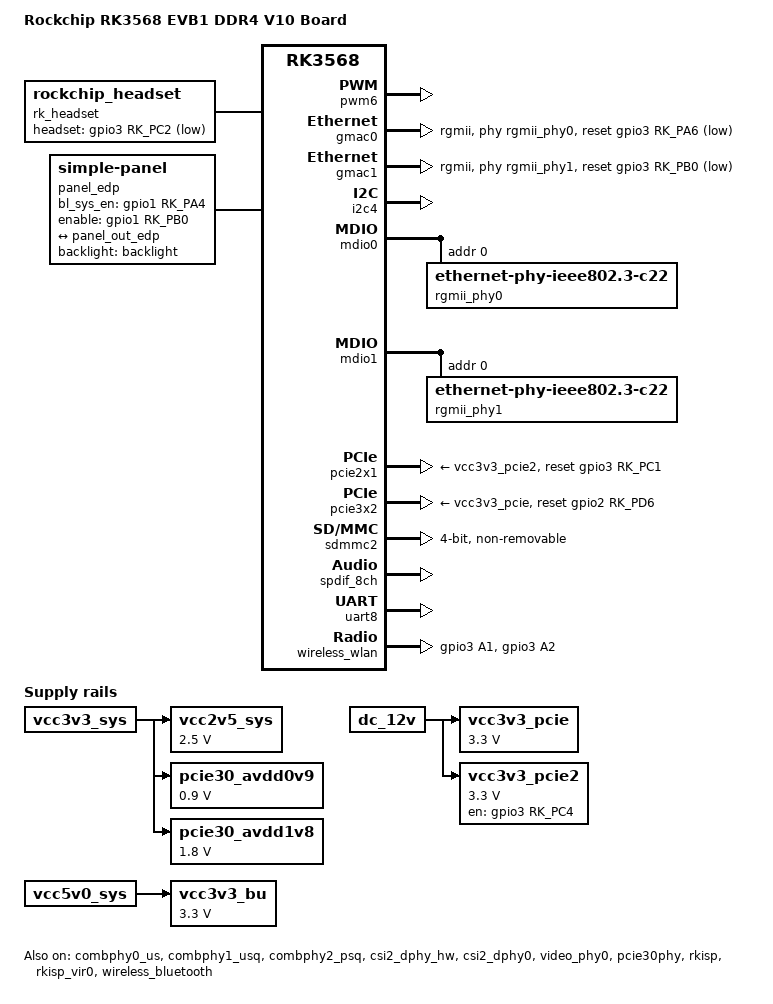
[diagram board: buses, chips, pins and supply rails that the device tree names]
// SPDX-License-Identifier: (GPL-2.0+ OR MIT)
/*
 * Copyright (c) 2020 Rockchip Electronics Co., Ltd.
 *
 */

/dts-v1/;

#include <dt-bindings/gpio/gpio.h>
#include <dt-bindings/pinctrl/rockchip.h>
#include "rk3568.dtsi"
#include "rk3568-tinker_board_3-common.dtsi"

/ {
	model = "Rockchip RK3568 EVB1 DDR4 V10 Board";
	compatible = "rockchip,rk3568-evb1-ddr4-v10", "rockchip,rk3568";

	rk_headset: rk-headset {
		compatible = "rockchip_headset";
		headset_gpio = <&gpio3 RK_PC2 GPIO_ACTIVE_LOW>;
		pinctrl-names = "default";
		pinctrl-0 = <&hp_det>;
	};

	vcc2v5_sys: vcc2v5-ddr {
		compatible = "regulator-fixed";
		regulator-name = "vcc2v5-sys";
		regulator-always-on;
		regulator-boot-on;
		regulator-min-microvolt = <2500000>;
		regulator-max-microvolt = <2500000>;
		vin-supply = <&vcc3v3_sys>;
	};

	pcie30_avdd0v9: pcie30-avdd0v9 {
		compatible = "regulator-fixed";
		regulator-name = "pcie30_avdd0v9";
		regulator-always-on;
		regulator-boot-on;
		regulator-min-microvolt = <900000>;
		regulator-max-microvolt = <900000>;
		vin-supply = <&vcc3v3_sys>;
	};

	pcie30_avdd1v8: pcie30-avdd1v8 {
		compatible = "regulator-fixed";
		regulator-name = "pcie30_avdd1v8";
		regulator-always-on;
		regulator-boot-on;
		regulator-min-microvolt = <1800000>;
		regulator-max-microvolt = <1800000>;
		vin-supply = <&vcc3v3_sys>;
	};

	vcc3v3_pcie: gpio-regulator {
		compatible = "regulator-fixed";
		regulator-name = "vcc3v3_pcie";
		regulator-min-microvolt = <3300000>;
		regulator-max-microvolt = <3300000>;
		enable-active-high;
		//gpio = <&gpio0 RK_PD4 GPIO_ACTIVE_HIGH>;
		startup-delay-us = <5000>;
		vin-supply = <&dc_12v>;
	};

	vcc3v3_pcie2: pcie2-gpio-regulator {
		compatible = "regulator-fixed";
		regulator-name = "vcc3v3_pcie2";
		regulator-min-microvolt = <3300000>;
		regulator-max-microvolt = <3300000>;
		enable-active-high;
		gpio = <&gpio3 RK_PC4 GPIO_ACTIVE_HIGH>;
		startup-delay-us = <5000>;
		vin-supply = <&dc_12v>;
	};

	vcc3v3_bu: vcc3v3-bu {
		compatible = "regulator-fixed";
		regulator-name = "vcc3v3_bu";
		regulator-always-on;
		regulator-boot-on;
		regulator-min-microvolt = <3300000>;
		regulator-max-microvolt = <3300000>;
		vin-supply = <&vcc5v0_sys>;
	};

	panel_edp: panel-edp {
		compatible = "simple-panel";
		width-mm = <344>;
		height-mm = <193>;
		bus-format = <0x100a>;//<MEDIA_BUS_FMT_RGB888_1X24>;
		bpc = <8>;
		backlight = <&backlight>;
		pinctrl-names = "default";
		pinctrl-0 =  <&pinctrl_vdd_en &pinctrl_bl_sys_en>;
		bl_sys_en-gpios = <&gpio1 RK_PA4 GPIO_ACTIVE_HIGH>;
		enable-gpios = <&gpio1 RK_PB0 GPIO_ACTIVE_HIGH>;
		disable-delay-ms = <500>; //power off time t12 500ms

		display-timings {
				native-mode = <&timing0>;

				timing0: timing0 {
					clock-frequency = <142000000>;
				    hactive = <1920>;
					vactive = <1080>;
				    hfront-porch = <108>;
				    hsync-len = <48>;
				    hback-porch = <24>;
				    vfront-porch = <10>;
				    vsync-len = <10>;
				    vback-porch = <26>;
					hsync-active = <0>;
				    vsync-active = <0>;
				    de-active = <1>;
				    pixelclk-active = <0>;
				};
		};

		port {
			panel_in_edp: endpoint {
				remote-endpoint = <&panel_out_edp>;
			};
		};
	};
};

&combphy0_us {
	status = "okay";
};

&combphy1_usq {
	status = "okay";
};

&combphy2_psq {
	status = "okay";
};

&csi2_dphy_hw {
	status = "okay";
};

&csi2_dphy0 {
	status = "okay";

	ports {
		#address-cells = <1>;
		#size-cells = <0>;
		port@0 {
			reg = <0>;
			#address-cells = <1>;
			#size-cells = <0>;

			mipi_in_ucam0: endpoint@1 {
				reg = <1>;
				remote-endpoint = <&ucam_out0>;
				data-lanes = <1 2 3 4>;
			};
			mipi_in_ucam1: endpoint@2 {
				reg = <2>;
				remote-endpoint = <&gc8034_out>;
				data-lanes = <1 2 3 4>;
			};
			mipi_in_ucam2: endpoint@3 {
				reg = <3>;
				remote-endpoint = <&ov5695_out>;
				data-lanes = <1 2>;
			};
		};
		port@1 {
			reg = <1>;
			#address-cells = <1>;
			#size-cells = <0>;

			csidphy_out: endpoint@0 {
				reg = <0>;
				remote-endpoint = <&isp0_in>;
			};
		};
	};
};

/*
 * video_phy0 needs to be enabled
 * when dsi0 is enabled
 */
&dsi0 {
	status = "disabled";
};

&dsi0_in_vp0 {
	status = "disabled";
};

&dsi0_in_vp1 {
	status = "disabled";
};

/*
 * video_phy1 needs to be enabled
 * when dsi1 is enabled
 */
&dsi1 {
	status = "disabled";
};

&dsi1_in_vp0 {
	status = "disabled";
};

&dsi1_in_vp1 {
	status = "disabled";
};

&dsi1_panel {
	power-supply = <&vcc3v3_lcd1_n>;
};

&edp {
	pinctrl-names = "default";
	force-hpd;
	//pinctrl-0 =  <&pinctrl_hpd>;
	//hpd-gpios = <&gpio0 RK_PC2 GPIO_ACTIVE_HIGH>;
	status = "disabled";

	ports{
		port@1{
			reg = <1>;
			panel_out_edp: endpoint {
				remote-endpoint = <&panel_in_edp>;
			};
		};
	};
};

&pwm6 {
	status = "okay";
};

&edp_phy {
	status = "disabled";
};

&edp_in_vp0 {
	status = "disabled";
};

&edp_in_vp1 {
	status = "disabled";
};

&gmac0 {
	phy-mode = "rgmii";
	clock_in_out = "output";

	snps,reset-gpio = <&gpio3 RK_PA6 GPIO_ACTIVE_LOW>;
	snps,reset-active-low;
	/* Reset time is 20ms, 100ms for rtl8211f */
	snps,reset-delays-us = <0 20000 100000>;

	assigned-clocks = <&cru SCLK_GMAC0_RX_TX>, <&cru SCLK_GMAC0>;
	assigned-clock-parents = <&cru SCLK_GMAC0_RGMII_SPEED>, <&cru CLK_MAC0_2TOP>;
	assigned-clock-rates = <0>, <125000000>;

	pinctrl-names = "default";
	pinctrl-0 = <&gmac0_miim
		     &gmac0_tx_bus2
		     &gmac0_rx_bus2
		     &gmac0_rgmii_clk
		     &gmac0_rgmii_bus>;

	tx_delay = <0x38>;
	rx_delay = <0x28>;

	phy-handle = <&rgmii_phy0>;
	status = "okay";
};

&gmac1 {
	phy-mode = "rgmii";
	clock_in_out = "output";

	snps,reset-gpio = <&gpio3 RK_PB0 GPIO_ACTIVE_LOW>;
	snps,reset-active-low;
	/* Reset time is 20ms, 100ms for rtl8211f */
	snps,reset-delays-us = <0 20000 100000>;

	assigned-clocks = <&cru SCLK_GMAC1_RX_TX>, <&cru SCLK_GMAC1>;
	assigned-clock-parents = <&cru SCLK_GMAC1_RGMII_SPEED>, <&cru CLK_MAC1_2TOP>;
	assigned-clock-rates = <0>, <125000000>;

	pinctrl-names = "default";
	pinctrl-0 = <&gmac1m1_miim
		     &gmac1m1_tx_bus2
		     &gmac1m1_rx_bus2
		     &gmac1m1_rgmii_clk
		     &gmac1m1_rgmii_bus>;

	tx_delay = <0x43>;
	rx_delay = <0x24>;

	phy-handle = <&rgmii_phy1>;
	status = "okay";
};

/*
 * power-supply should switche to vcc3v3_lcd1_n
 * when mipi panel is connected to dsi1.
 */
&gt1x {
	power-supply = <&vcc3v3_lcd0_n>;
};

&i2c4 {
	status = "okay";
	gc8034: gc8034@37 {
		compatible = "galaxycore,gc8034";
		status = "disabled";
		reg = <0x37>;
		clocks = <&cru CLK_CIF_OUT>;
		clock-names = "xvclk";
		pinctrl-names = "default";
		pinctrl-0 = <&cif_clk>;
		reset-gpios = <&gpio3 RK_PB6 GPIO_ACTIVE_LOW>;
		pwdn-gpios = <&gpio4 RK_PB4 GPIO_ACTIVE_LOW>;
		rockchip,grf = <&grf>;
		power-domains = <&power RK3568_PD_VI>;
		rockchip,camera-module-index = <0>;
		rockchip,camera-module-facing = "back";
		rockchip,camera-module-name = "RK-CMK-8M-2-v1";
		rockchip,camera-module-lens-name = "CK8401";
		port {
			gc8034_out: endpoint {
				remote-endpoint = <&mipi_in_ucam1>;
				data-lanes = <1 2 3 4>;
			};
		};
	};

	os04a10: os04a10@36 {
		compatible = "ovti,os04a10";
		status = "disabled";
		reg = <0x36>;
		clocks = <&cru CLK_CIF_OUT>;
		clock-names = "xvclk";
		power-domains = <&power RK3568_PD_VI>;
		pinctrl-names = "default";
		pinctrl-0 = <&cif_clk>;
		reset-gpios = <&gpio3 RK_PB6 GPIO_ACTIVE_LOW>;
		pwdn-gpios = <&gpio4 RK_PB4 GPIO_ACTIVE_HIGH>;
		rockchip,camera-module-index = <0>;
		rockchip,camera-module-facing = "back";
		rockchip,camera-module-name = "CMK-OT1607-FV1";
		rockchip,camera-module-lens-name = "M12-40IRC-4MP-F16";
		port {
			ucam_out0: endpoint {
				remote-endpoint = <&mipi_in_ucam0>;
				data-lanes = <1 2 3 4>;
			};
		};
	};
	ov5695: ov5695@36 {
		compatible = "ovti,ov5695";
		status = "disabled";
		reg = <0x36>;
		clocks = <&cru CLK_CIF_OUT>;
		clock-names = "xvclk";
		power-domains = <&power RK3568_PD_VI>;
		pinctrl-names = "default";
		pinctrl-0 = <&cif_clk>;
		reset-gpios = <&gpio3 RK_PB6 GPIO_ACTIVE_HIGH>;
		pwdn-gpios = <&gpio4 RK_PB4 GPIO_ACTIVE_HIGH>;
		rockchip,camera-module-index = <0>;
		rockchip,camera-module-facing = "back";
		rockchip,camera-module-name = "TongJu";
		rockchip,camera-module-lens-name = "CHT842-MD";
		port {
			ov5695_out: endpoint {
				remote-endpoint = <&mipi_in_ucam2>;
				data-lanes = <1 2>;
			};
		};
	};
	dsi_lvds_bridge2: lt9211@2d {
		compatible = "lt9211";
		status = "disabled";
		reg = <0x2d>;

		lvds-format = <2>;//VESA
		lvds-bpp = <24>;///RGB888
		dsi-lanes = <4>;//u-boot
		de-mode;
		//dual-link;
		//uboot-logo;
		//test-pattern;
		Tinker3;

		t1=<1>;//VCC on to start lvds signal
		t2=<500>;//t2-t6: LVDS signal(start) to turn Backlihgt on or Backlight sys Enable
		t3=<200>;//Backlight sys Disable or Backlihgt(off) to stop lvds signal
		t4=<1>;//LVDS signal to turn VCC off
		t5=<1000>;//VCC off to turn VCC on
		t6=<0>;//Backlight sys Enable to turn Backlight on
		t7=<0>;//Backlight off to Backlight sys Disable
		//t1 -> t2-t6 -> t6 -> t3 -> t7 -> t4 -> t5

		pinctrl-names = "default";
		pinctrl-0 =  <&pinctrl_lt9211_en &pinctrl_vdd_en &pinctrl_bl_sys_en>;

		EN-gpios = <&gpio0 RK_PD5 GPIO_ACTIVE_HIGH>;
		lvds_vdd_en-gpios = <&gpio1 RK_PB0 GPIO_ACTIVE_HIGH>;
		bl_sys_en-gpios = <&gpio1 RK_PA4 GPIO_ACTIVE_HIGH>;
	};
};

&mdio0 {
	rgmii_phy0: phy@0 {
		compatible = "ethernet-phy-ieee802.3-c22";
		reg = <0x0>;
	};
};

&mdio1 {
	rgmii_phy1: phy@0 {
		compatible = "ethernet-phy-ieee802.3-c22";
		reg = <0x0>;
	};
};

&video_phy0 {
	status = "okay";
};

&video_phy1 {
	status = "disabled";
};

&pcie2x1 {
	reset-gpios = <&gpio3 RK_PC1 GPIO_ACTIVE_HIGH>;
	vpcie3v3-supply = <&vcc3v3_pcie2>;
	status = "okay";
};
&pcie30phy {
	status = "okay";
};

&pcie3x2 {
	reset-gpios = <&gpio2 RK_PD6 GPIO_ACTIVE_HIGH>;
	vpcie3v3-supply = <&vcc3v3_pcie>;
	status = "okay";
};

&pinctrl {
	headphone {
		hp_det: hp-det {
			rockchip,pins = <3 RK_PC2 RK_FUNC_GPIO &pcfg_pull_down>;
		};
	};

	wireless-wlan {
		wifi_host_wake_irq: wifi-host-wake-irq {
			rockchip,pins = <3 RK_PD4 RK_FUNC_GPIO &pcfg_pull_down>;
		};

		wifi_power_gpios: wifi-power-gpios {
			rockchip,pins = <3 RK_PA1 RK_FUNC_GPIO &pcfg_pull_none>,
					<3 RK_PA2 RK_FUNC_GPIO &pcfg_pull_none>;
		};
	};

	panel-control {
		pinctrl_hpd: hdp {
			rockchip,pins = <0 RK_PC2 RK_FUNC_GPIO &pcfg_pull_none>;
		};

		pinctrl_vdd_en: vdd_en {
			rockchip,pins = <1 RK_PB0 RK_FUNC_GPIO &pcfg_pull_none>;
		};

		pinctrl_bl_sys_en: bl_sys_en {
			rockchip,pins = <1 RK_PA4 RK_FUNC_GPIO &pcfg_pull_none>;
		};

		pinctrl_bl_en: bl_en {
			rockchip,pins = <3 RK_PA3 RK_FUNC_GPIO &pcfg_pull_none>;
		};

		pinctrl_lt9211_en: lt9211_en {
			rockchip,pins = <0 RK_PD5 RK_FUNC_GPIO &pcfg_pull_none>;
		};
    };
};

&rkisp {
	status = "okay";
};

&rkisp_mmu {
	status = "okay";
};

&rkisp_vir0 {
	status = "okay";

	port {
		#address-cells = <1>;
		#size-cells = <0>;

		isp0_in: endpoint@0 {
			reg = <0>;
			remote-endpoint = <&csidphy_out>;
		};
	};
};

&route_dsi0 {
	status = "disabled";
	connect = <&vp1_out_dsi0>;
};

&sata2 {
	status = "disabled";
};

&sdmmc2 {
	max-frequency = <150000000>;
	supports-sdio;
	bus-width = <4>;
	disable-wp;
	cap-sd-highspeed;
	cap-sdio-irq;
	keep-power-in-suspend;
	mmc-pwrseq = <&sdio_pwrseq>;
	non-removable;
	pinctrl-names = "default";
	pinctrl-0 = <&sdmmc2m0_bus4 &sdmmc2m0_cmd>;
	sd-uhs-sdr104;
	status = "okay";
};

&spdif_8ch {
	status = "okay";
	pinctrl-names = "default";
	pinctrl-0 = <&spdifm1_tx>;
};

&uart8 {
	status = "okay";
	pinctrl-names = "default";
	pinctrl-0 = <&uart8m0_xfer &uart8m0_ctsn>;
};

&vcc3v3_lcd0_n {
	enable-active-high;
};

&vcc3v3_lcd1_n {
	gpio = <&gpio0 RK_PC5 GPIO_ACTIVE_HIGH>;
	enable-active-high;
};

&wireless_wlan {
	pinctrl-names = "default";
	pinctrl-0 = <&wifi_power_gpios>;
	WIFI,m2e_dis1_n = <&gpio3 RK_PA1 GPIO_ACTIVE_HIGH>;
	WIFI,m2e_dis2_n = <&gpio3 RK_PA2 GPIO_ACTIVE_HIGH>;
	status = "okay";
};

&wireless_bluetooth {
	compatible = "bluetooth-platdata";
	clocks = <&rk809 1>;
	clock-names = "ext_clock";
	//wifi-bt-power-toggle;
	status = "okay";
};
